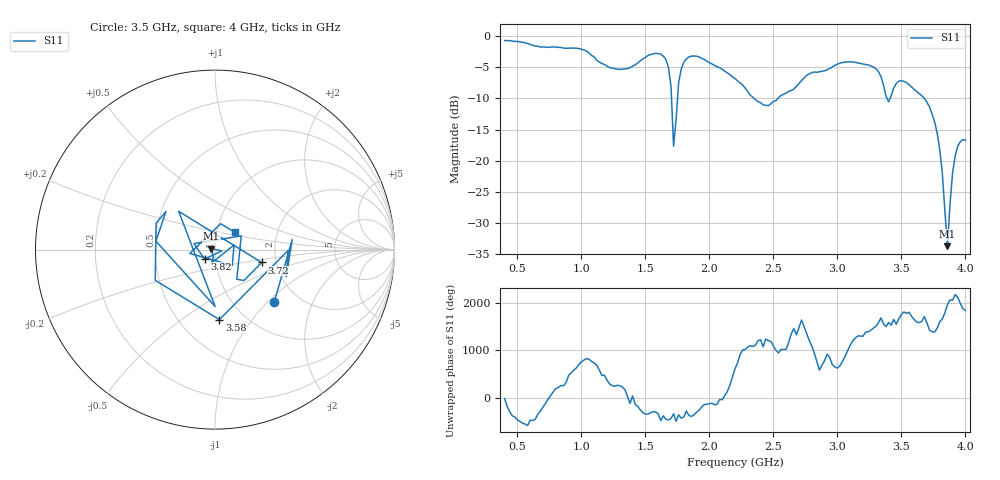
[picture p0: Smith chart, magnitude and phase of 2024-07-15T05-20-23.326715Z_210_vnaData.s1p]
!Created with skrf (http://scikit-rf.org).
# Hz S RI R 50.0
!freq ReS11 ImS11
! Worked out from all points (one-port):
!   181 points, 400 MHz to 4 GHz, reference 50 ohm
!   lowest |S11| = -33.7 dB at 3.86 GHz (marker M1), VSWR 1.04, Z = 48.1 + j0.549 ohm
!   |S11| at or under -10 dB: 1.704 GHz to 1.751 GHz (47.14 MHz wide, 2.73 % of centre); 2.351 GHz to 2.535 GHz (183.9 MHz wide, 7.53 % of centre); 3.681 GHz to end of sweep (the widest 3 of 4)
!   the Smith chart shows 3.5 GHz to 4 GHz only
!   S11 on the Smith chart (normalised r, x): 3.5 GHz: 1.51, -1.09; 3.58 GHz: 0.77, -0.71; 3.72 GHz: 1.68, -0.26; 3.82 GHz: 0.88, -0.09; 4 GHz: 1.22, +0.24
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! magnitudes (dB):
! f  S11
! 400 MHz  -0.7
! 860 MHz  -1.9
! 1.3 GHz  -5.3
! 1.58 GHz  -2.7
! 1.66 GHz  -3.7
! 1.7 GHz  -8.1
! 1.72 GHz  -17.6
! 1.76 GHz  -7.4
! 1.8 GHz  -4.2
! 1.86 GHz  -3.2
! 2.2 GHz  -6.8
! 2.42 GHz  -11.0
! 2.66 GHz  -8.5
! 2.8 GHz  -5.8
! 3.1 GHz  -4.1
! 3.3 GHz  -5.2
! 3.4 GHz  -10.5
! 3.5 GHz  -7.1
! 3.56 GHz  -7.8
! 3.58 GHz  -8.2
! 3.72 GHz  -11.4
! 3.78 GHz  -15.6
! 3.82 GHz  -22.1
! 3.86 GHz  -33.7
! 3.9 GHz  -21.9
! 3.92 GHz  -19.3
! 3.96 GHz  -17.0
! 4 GHz  -16.7
